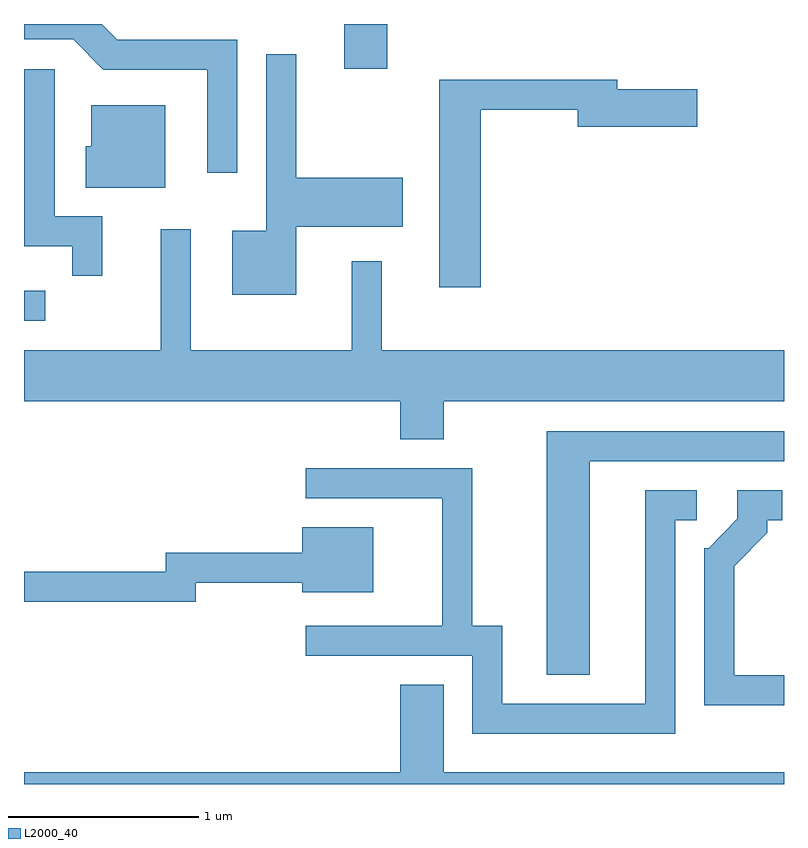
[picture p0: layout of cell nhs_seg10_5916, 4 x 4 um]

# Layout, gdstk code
import gdstk
lib = gdstk.Library(unit=1e-6, precision=1e-09)
def R(c, l, rs):  # rectangles x0, y0, x1, y1
    for r in rs: c.add(gdstk.rectangle(r[:2], r[2:], *l))
def P(c, l, *ps):  # polygons
    for p in ps: c.add(gdstk.Polygon(p, *l))
L2000_40 = (2000, 40)

nhs_seg10_5916 = lib.new_cell('nhs_seg10_5916')
R(nhs_seg10_5916, L2000_40, [(359.611,2160.961,359.723,2161.119), (361.296,2162.286,361.524,2162.522)])
P(nhs_seg10_5916, L2000_40, [(360.734,2162.439),(360.102,2162.439),(360.019,2162.522),(359.611,2162.522),(359.611,2162.441),(359.869,2162.441),(360.029,2162.281),(360.576,2162.281),(360.576,2161.738),(360.734,2161.738)],
  [(361.044,2161.456),(361.604,2161.456),(361.604,2161.714),(361.044,2161.714),(361.044,2162.363),(360.886,2162.363),(360.886,2161.434),(360.706,2161.434),(360.706,2161.096),(361.044,2161.096)],
  [(360.024,2161.509),(359.774,2161.509),(359.774,2162.284),(359.611,2162.284),(359.611,2161.351),(359.866,2161.351),(359.866,2161.198),(360.024,2161.198)],
  [(362.014,2162.071),(362.526,2162.071),(362.526,2161.981),(363.154,2161.981),(363.154,2162.179),(362.734,2162.179),(362.734,2162.229),(361.796,2162.229),(361.796,2161.136),(362.014,2161.136)],
  [(360.354,2162.094),(359.966,2162.094),(359.966,2161.879),(359.936,2161.879),(359.936,2161.661),(360.354,2161.661)],
  [(361.819,2160.536),(363.611,2160.536),(363.611,2160.804),(361.494,2160.804),(361.494,2161.273),(361.336,2161.273),(361.336,2160.804),(360.489,2160.804),(360.489,2161.443),(360.331,2161.443),(360.331,2160.804),(359.611,2160.804),(359.611,2160.536),(361.591,2160.536),(361.591,2160.336),(361.819,2160.336)],
  [(362.589,2160.221),(363.611,2160.221),(363.611,2160.379),(362.361,2160.379),(362.361,2159.096),(362.589,2159.096)],
  [(363.039,2159.911),(363.153,2159.911),(363.153,2160.069),(362.881,2160.069),(362.881,2158.944),(362.129,2158.944),(362.129,2159.354),(361.969,2159.354),(361.969,2160.184),(361.093,2160.184),(361.093,2160.026),(361.811,2160.026),(361.811,2159.354),(361.093,2159.354),(361.093,2159.196),(361.971,2159.196),(361.971,2158.786),(363.039,2158.786)],
  [(363.611,2159.094),(363.349,2159.094),(363.349,2159.669),(363.524,2159.844),(363.524,2159.911),(363.603,2159.911),(363.603,2160.069),(363.366,2160.069),(363.366,2159.917),(363.214,2159.764),(363.191,2159.764),(363.191,2158.936),(363.611,2158.936)],
  [(360.514,2159.581),(361.076,2159.581),(361.076,2159.531),(361.449,2159.531),(361.449,2159.874),(361.076,2159.874),(361.076,2159.739),(360.356,2159.739),(360.356,2159.639),(359.611,2159.639),(359.611,2159.481),(360.514,2159.481)],
  [(363.611,2158.584),(361.819,2158.584),(361.819,2159.044),(361.591,2159.044),(361.591,2158.584),(359.611,2158.584),(359.611,2158.522),(363.611,2158.522)])

lib.write_gds('nhs_seg10_5916.gds')
